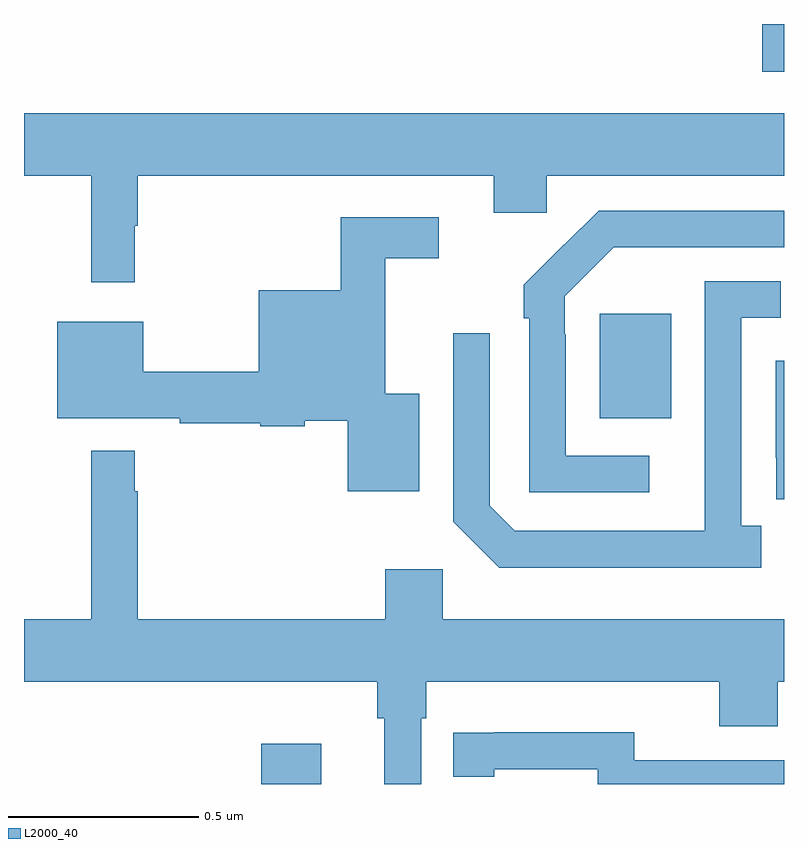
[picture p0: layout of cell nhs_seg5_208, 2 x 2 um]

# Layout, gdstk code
import gdstk
lib = gdstk.Library(unit=1e-6, precision=1e-09)
def R(c, l, rs):  # rectangles x0, y0, x1, y1
    for r in rs: c.add(gdstk.rectangle(r[:2], r[2:], *l))
def P(c, l, *ps):  # polygons
    for p in ps: c.add(gdstk.Polygon(p, *l))
L2000_40 = (2000, 40)

nhs_seg5_208 = lib.new_cell('nhs_seg5_208')
R(nhs_seg5_208, L2000_40, [(113.624,881.799,113.782,881.905), (114.515,882.761,114.703,883.036), (114.943,883.674,115,883.799)])
P(nhs_seg5_208, L2000_40, [(113.291,883.268),(113.299,883.268),(113.299,883.4),(114.236,883.4),(114.236,883.302),(114.375,883.302),(114.375,883.4),(115,883.4),(115,883.564),(113,883.564),(113,883.4),(113.177,883.4),(113.177,883.119),(113.291,883.119)],
  [(114.646,882.663),(114.426,882.663),(114.426,882.983),(114.423,882.983),(114.423,883.083),(114.552,883.212),(115,883.212),(115,883.308),(114.512,883.308),(114.421,883.217),(114.42,883.218),(114.315,883.113),(114.315,883.025),(114.33,883.025),(114.33,882.567),(114.646,882.567)],
  [(114.04,882.826),(113.951,882.826),(113.951,883.182),(114.091,883.182),(114.091,883.29),(113.833,883.29),(113.833,883.099),(113.618,883.099),(113.618,882.884),(113.314,882.884),(113.314,883.015),(113.087,883.015),(113.087,882.761),(113.41,882.761),(113.41,882.748),(113.622,882.748),(113.622,882.74),(113.739,882.74),(113.739,882.755),(113.852,882.755),(113.852,882.569),(114.04,882.569)],
  [(114.94,882.478),(114.888,882.478),(114.888,883.026),(114.991,883.026),(114.991,883.122),(114.792,883.122),(114.792,882.665),(114.791,882.665),(114.791,882.465),(114.291,882.465),(114.225,882.531),(114.225,882.985),(114.129,882.985),(114.129,882.489),(114.25,882.368),(114.94,882.368)],
  [(115,882.913),(114.978,882.913),(114.978,882.658),(114.979,882.658),(114.979,882.549),(115,882.549)],
  [(114.045,881.972),(114.059,881.972),(114.059,882.068),(114.83,882.068),(114.83,881.951),(114.983,881.951),(114.983,882.068),(115,882.068),(115,882.232),(114.102,882.232),(114.102,882.364),(113.951,882.364),(113.951,882.232),(113.299,882.232),(113.299,882.569),(113.292,882.569),(113.292,882.676),(113.177,882.676),(113.177,882.232),(113,882.232),(113,882.068),(113.929,882.068),(113.929,881.972),(113.948,881.972),(113.948,881.799),(114.045,881.799)],
  [(115,881.862),(114.606,881.862),(114.606,881.935),(114.238,881.935),(114.238,881.934),(114.13,881.934),(114.13,881.818),(114.238,881.818),(114.238,881.838),(114.51,881.838),(114.51,881.799),(115,881.799)])

lib.write_gds('nhs_seg5_208.gds')
